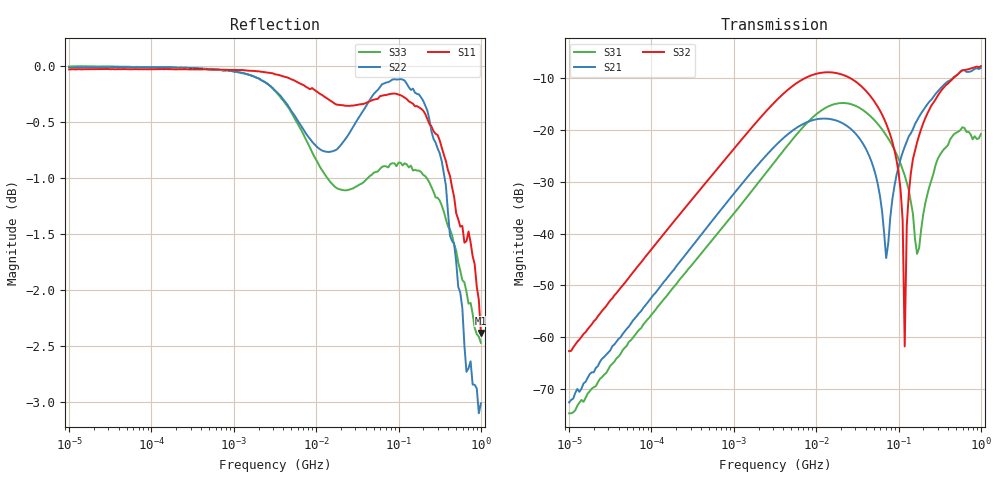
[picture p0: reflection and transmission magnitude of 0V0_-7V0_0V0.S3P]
!Keysight Technologies,E5080A,MY55100144,A.11.70.03
!Date: Monday, November 13, 2017 17:22:37
!Correction: S11(Full 3 Port(1,2,3))
!S12(Full 3 Port(1,2,3))
!S13(Full 3 Port(1,2,3))
!S21(Full 3 Port(1,2,3))
!S22(Full 3 Port(1,2,3))
!S23(Full 3 Port(1,2,3))
!S31(Full 3 Port(1,2,3))
!S32(Full 3 Port(1,2,3))
!S33(Full 3 Port(1,2,3))
!S3P File: Measurements: <S11,S12,S13>,
!<S21,S22,S23>,
!<S31,S32,S33>:Log Frequency Sweep
# Hz S  RI  R 50
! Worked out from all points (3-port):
!   201 points, 10 kHz to 1 GHz, reference 50 ohm
!   strongest paths, dB at 10 kHz, 177.8 kHz, 3.162 MHz, 56.23 MHz, 1 GHz:
!     S32: -62.7, -38.1, -14.5, -15.6, -7.7
!     S21: -72.6, -47.4, -23.1, -30.6, -8.0
!     S31: -74.7, -50.7, -26.1, -18.9, -20.8
!   lowest |S11| = -2.4 dB at 1 GHz (marker M1), VSWR 7.34, Z = 367 + j11.4 ohm
!   |S11| at or under -10 dB: nowhere
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10000  0.9969 -0.0015  1.67e-05 0.000237  4.43e-05 0.000163
       -1.43e-05 0.000234  0.9989 -0.00359  1.38e-06 0.000691
       7.15e-06 0.000183  -1.31e-05 0.000732  0.9998 -0.00228
3162278  0.8988 -0.4194  0.0369 0.0593  0.0121 0.0482
         0.0368 0.0595  0.6692 -0.7097  0.0992 0.1589
         0.012 0.0482  0.0995 0.1588  0.9349 -0.2764
5.956621e7  -0.9233 -0.2965  0.0125 -0.0193  0.053 -0.0937
            0.0125 -0.0193  -0.9786 -0.0265  0.0543 -0.1441
            0.053 -0.0938  0.0542 -0.1441  -0.6882 -0.58
7.079458e7  -0.952 -0.191  0.00583 -0.000282  0.0321 -0.083
            0.00579 -0.00027  -0.9808 0.0725  0.0262 -0.1121
            0.0321 -0.083  0.0262 -0.1119  -0.7732 -0.4649
1.059254e8  -0.9696 0.046  0.0107 0.0513  0.00406 -0.0471
            0.0108 0.0514  -0.9366 0.3114  -0.00139 -0.0263
            0.00403 -0.0471  -0.00142 -0.0263  -0.8866 -0.1847
1.188502e8  -0.9614 0.116  0.0184 0.0664  0.00103 -0.0364
            0.0185 0.0664  -0.9071 0.385  0.0003 -0.000749
            0.00103 -0.0364  0.00031 -0.000751  -0.8993 -0.1033
1.258925e8  -0.9549 0.1518  0.0233 0.0739  0.000222 -0.0311
            0.0233 0.074  -0.8869 0.4224  0.00308 0.0116
            0.000126 -0.0311  0.00307 0.0116  -0.9021 -0.0606
1.678804e8  -0.9012 0.3307  0.0597 0.1085  0.00447 -0.00458
            0.0597 0.1085  -0.763 0.6024  0.0337 0.068
            0.00447 -0.00454  0.0336 0.068  -0.8867 0.1443
5.308844e8  0.00554 0.8546  0.3252 -0.1259  0.0707 -0.0655
            0.3253 -0.1261  0.5019 0.6193  0.3335 -0.1002
            0.0707 -0.0656  0.3334 -0.1001  -0.1354 0.8063
1e9  0.7602 0.00653  -0.0933 -0.3865  -0.0562 -0.0721
     -0.0936 -0.3866  0.591 -0.3885  -0.0449 -0.4113
     -0.0562 -0.0719  -0.0445 -0.4113  0.686 0.3097
